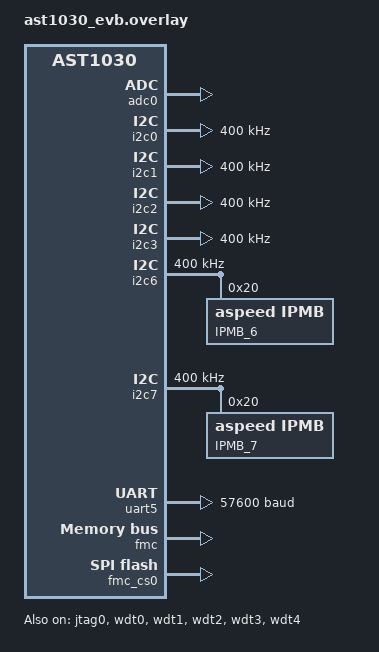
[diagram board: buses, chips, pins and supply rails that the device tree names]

&adc0 {
	status = "okay";
	pinctrl-0 = <
		&pinctrl_adc0_default
		&pinctrl_adc1_default
		&pinctrl_adc2_default
		&pinctrl_adc3_default
		&pinctrl_adc4_default
		&pinctrl_adc5_default
		&pinctrl_adc6_default>;
};

&jtag0 {
	status = "okay";
};

&i2c0 {
	pinctrl-0 = <&pinctrl_i2c2_default>;
	status = "okay";
	clock-frequency = <I2C_BITRATE_FAST>; //Reference VF
};

&i2c1 {
	pinctrl-0 = <&pinctrl_i2c2_default>;
	status = "okay";
	clock-frequency = <I2C_BITRATE_FAST>; //Reference VF
};

&i2c2 {
	pinctrl-0 = <&pinctrl_i2c2_default>;
	status = "okay";
	clock-frequency = <I2C_BITRATE_FAST>; //Reference VF
	
};

&i2c3 {
	pinctrl-0 = <&pinctrl_i2c3_default>;
	status = "okay";
	clock-frequency = <I2C_BITRATE_FAST>; //Reference VF
};

&i2c6 {
	pinctrl-0 = <&pinctrl_i2c6_default>;
	status = "okay";
	clock-frequency = <I2C_BITRATE_FAST>; //Reference VF

	ipmb6: ipmb@20 {
		compatible = "aspeed,ipmb";
		reg = <0x20>;
		label = "IPMB_6";
		size = <10>;
#ifdef CONFIG_I2C_IPMB_SLAVE
		status = "okay";
#endif
	};
};

&i2c7 {
	pinctrl-0 = <&pinctrl_i2c7_default>;
	status = "okay";
	clock-frequency = <I2C_BITRATE_FAST>; //Reference VF

	ipmb7: ipmb@20 {
		compatible = "aspeed,ipmb";
		reg = <0x20>;
		label = "IPMB_7";
		size = <10>;
#ifdef CONFIG_I2C_IPMB_SLAVE
		status = "okay";
#endif
	};
};

&uart5 {
	current-speed = <57600>;
};

&fmc {
	status = "okay";
};

&fmc_cs0 {
	status = "okay";
	spi-max-buswidth = <4>;
	spi-max-frequency = <50000000>;

	partitions {
		compatible = "fixed-partitions";
		#address-cells = <1>;
		#size-cells = <1>;
		boot_partition: partition@0 {
			label = "image-0";
			reg = <0x0 0x100000>;
		};
		dfu_partition: partition@1 {
			label = "image-1";
			reg = <0x0 0x100000>;
		};
	};
};

&fmc_cs1 {
	status = "disabled";
	spi-max-buswidth = <4>;
	spi-max-frequency = <50000000>;
};

&wdt0 {
	status = "okay";
};

&wdt1 {
	status = "okay";
};

&wdt2 {
	status = "okay";
};

&wdt3 {
	status = "okay";
};

&wdt4 {
	status = "okay";
};
